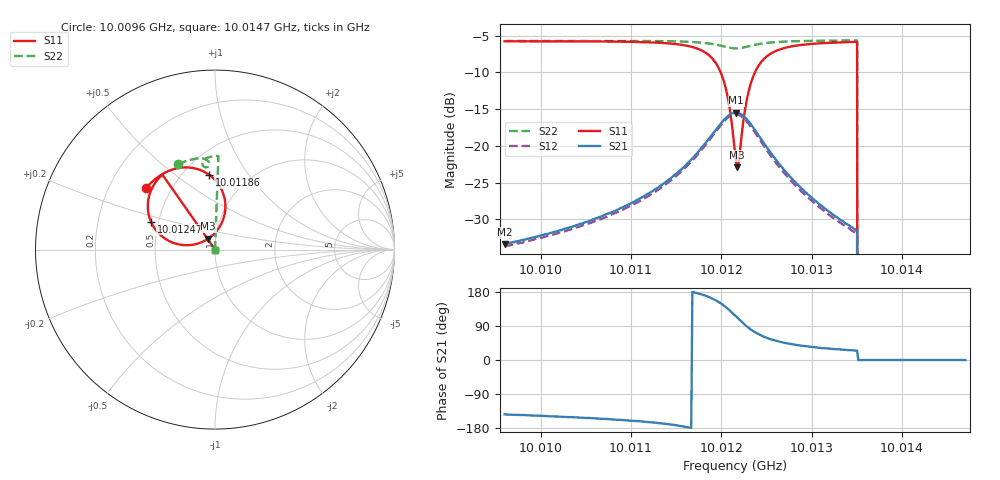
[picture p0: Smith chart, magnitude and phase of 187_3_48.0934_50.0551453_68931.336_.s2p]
#  HZ  S  RI  R  50.00
! Rohde & Schwarz Vector Network Analyzer
! Rohde-Schwarz,ZNB20-2Port,1311601062101988,3.16
! Created: UTC 12/23/2023, 3:53:23 AM
! freq[Hz]  re:S11  im:S11  re:S21  im:S21  re:S12  im:S12  re:S22  im:S22
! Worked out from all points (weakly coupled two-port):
!   401 points, 10.0096 GHz to 10.0147 GHz, reference 50 ohm
!   highest |S21| = -15.47 dB at 10.01216 GHz (marker M1); lowest = -33.4 dB at 10.0096 GHz (marker M2)
!   lowest |S11| = -22.9 dB at 10.01218 GHz (marker M3), VSWR 1.15, Z = 46 + j5.59 ohm
!   |S11| at or under -10 dB: 10.01199 GHz to 10.01237 GHz (379 kHz wide, 0.00379 % of centre); 10.0135 GHz to end of sweep
!   |S22| runs from - to -5.6 dB; largest |S21 - S12| = 0.0088
!   S11 on the Smith chart (normalised r, x): 10.0096 GHz: 0.36, +0.33; 10.01186 GHz: 0.67, +0.67; 10.01247 GHz: 0.45, +0.17; 10.0147 GHz: 1.00, +0.00
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1.0009599e10  -0.3866 0.3406  -0.0172 -0.0128  -0.0159 -0.0133  -0.2058 0.4755
1.0010454e10  -0.3314 0.394  -0.0261 -0.0137  -0.0246 -0.0145  -0.1522 0.496
1.0011309e10  -0.2292 0.4484  -0.0513 -0.0122  -0.0486 -0.0143  -0.0916 0.5086
1.0011615e10  -0.1482 0.4577  -0.0748 -0.00405  -0.072 -0.00785  -0.065 0.5075
1.0011858e10  -0.0312 0.4154  -0.1078 0.0255  -0.1057 0.0189  -0.0412 0.4967
1.001196e10  0.0296 0.3475  -0.1205 0.0577  -0.1202 0.0497  -0.0335 0.4851
1.0012036e10  0.0573 0.2573  -0.12 0.0934  -0.121 0.0855  -0.0327 0.4731
1.0012087e10  0.0496 0.1811  -0.108 0.1208  -0.1108 0.1129  -0.0366 0.4651
1.0012151e10  -0.00422 0.0888  -0.0776 0.1494  -0.0817 0.1424  -0.0464 0.4588
1.0012164e10  -0.0208 0.0737  -0.0699 0.1533  -0.0741 0.1466  -0.0486 0.4584
1.0012177e10  -0.0383 0.0605  -0.0622 0.1562  -0.0657 0.15  -0.0511 0.4584
1.0012202e10  -0.0778 0.0398  -0.0458 0.1598  -0.0492 0.154  -0.056 0.4592
1.0012266e10  -0.1805 0.0256  -0.00521 0.1553  -0.01 0.1497  -0.0654 0.4661
1.0012317e10  -0.2507 0.0454  0.0196 0.1415  0.0144 0.1369  -0.0691 0.4739
1.0012381e10  -0.3125 0.0894  0.0381 0.12  0.0326 0.1165  -0.0692 0.4838
1.001247e10  -0.357 0.1565  0.0499 0.092  0.0443 0.0898  -0.0642 0.495
1.00127e10  -0.3714 0.278  0.048 0.0484  0.0436 0.0481  -0.0442 0.5108
1.0013006e10  -0.3424 0.3575  0.0364 0.0251  0.0334 0.0254  -0.0184 0.5184
1.0013478e10  -0.2958 0.4159  0.0246 0.0115  0.0227 0.0121  0.0171 0.5217
1.0013542e10  0 0  0 0  0 0  0 0
1.0013861e10  0 0  0 0  0 0  0 0
1.0014704e10  0 0  0 0  0 0  0 0
